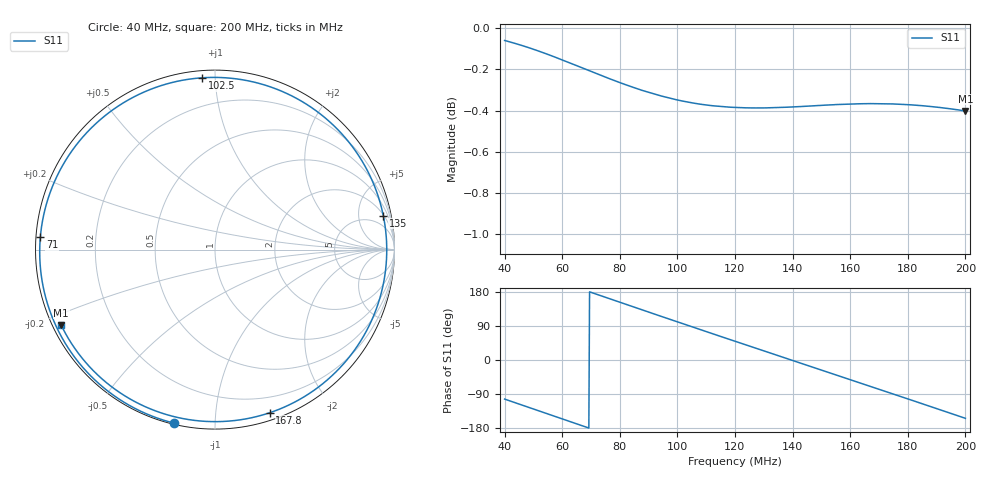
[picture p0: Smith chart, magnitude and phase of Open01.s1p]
# Hz S RI R 50
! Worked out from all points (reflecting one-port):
!   641 points, 40 MHz to 200 MHz, reference 50 ohm
!   lowest |S11| = -0.4 dB at 200 MHz (marker M1), VSWR 43.27, Z = 1.22 - j11.6 ohm
!   phase of S11 starts at -103 deg and turns -411 deg over the sweep
!   S11 on the Smith chart (normalised r, x): 40 MHz: 0.01, -0.79; 71 MHz: 0.01, +0.04; 102.5 MHz: 0.04, +0.93; 135 MHz: 2.13, +9.51; 167.8 MHz: 0.06, -1.39; 200 MHz: 0.02, -0.23
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4e7  -0.2262 -0.9671
4.45e7  -0.4171 -0.8992
4.925e7  -0.5988 -0.7868
5.475e7  -0.7729 -0.6117
6e7  -0.893 -0.4096
6.55e7  -0.9634 -0.1745
7.1e7  -0.973 0.0698
7.55e7  -0.9358 0.2656
8e7  -0.8599 0.4489
8.5e7  -0.7348 0.6291
9.05e7  -0.5556 0.7884
9.525e7  -0.3744 0.8867
1e8  -0.1775 0.9442
1.025e8  -0.0706 0.9573
1.11e8  0.2891 0.9132
1.2e8  0.6215 0.7273
1.2775e8  0.8299 0.4754
1.35e8  0.9376 0.1898
1.4e8  0.9567 -0.0201
1.4475e8  0.932 -0.2188
1.4975e8  0.8619 -0.4176
1.6e8  0.5929 -0.7531
1.6775e8  0.3051 -0.9089
1.74e8  0.0446 -0.9576
1.8e8  -0.2095 -0.935
1.8925e8  -0.5664 -0.7714
1.95e8  -0.7433 -0.6011
2e8  -0.8574 -0.4202
